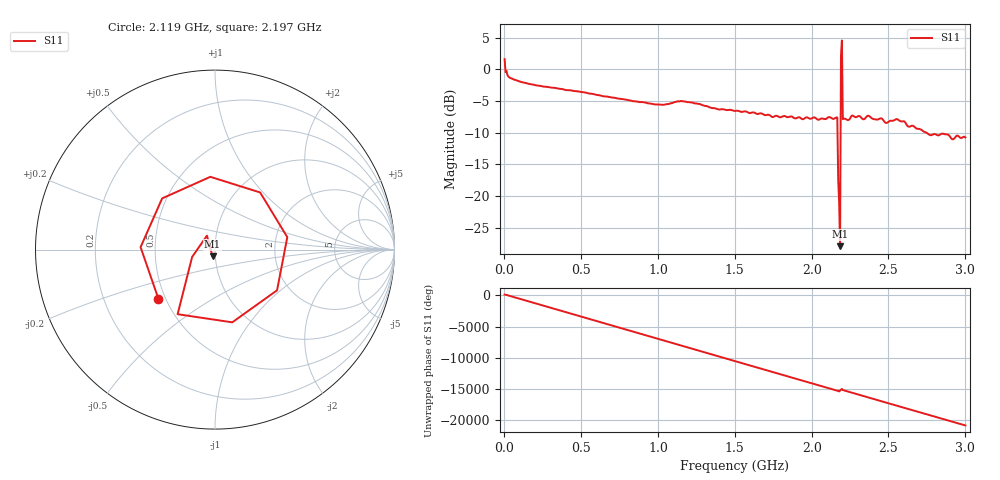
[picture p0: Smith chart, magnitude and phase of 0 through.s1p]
! NanoVNA-App by SYSJOINT et al v1.1.209 (+OD18)
! Date: 2025-09-17 09:44:52
! Start: 1MHz Stop: 3.001GHz Points: 501
! S-Parameter data: F S11
# Hz S RI R 50
!  Frequency  S11_Real  S11_Imag
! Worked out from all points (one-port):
!   501 points, 1 MHz to 3.001 GHz, reference 50 ohm
!   lowest |S11| = -27.9 dB at 2.185 GHz (marker M1), VSWR 1.08, Z = 48.5 - j3.68 ohm
!   |S11| at or under -10 dB: 2.168 GHz to 2.189 GHz (20.13 MHz wide, 0.924 % of centre); 2.746 GHz to end of sweep
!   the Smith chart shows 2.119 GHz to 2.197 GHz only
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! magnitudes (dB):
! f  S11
! 1 MHz  1.6
! 19 MHz  -0.9
! 49 MHz  -1.5
! 379 MHz  -3.1
! 751 MHz  -4.7
! 991 MHz  -5.6
! 1.129 GHz  -5.0
! 1.501 GHz  -6.6
! 1.879 GHz  -7.6
! 2.155 GHz  -7.7
! 2.161 GHz  -7.6
! 2.167 GHz  -7.6
! 2.173 GHz  -17.5
! 2.185 GHz  -27.9
! 2.191 GHz  2.2
! 2.197 GHz  4.5
! 2.203 GHz  -7.9
! 2.215 GHz  -7.8
! 2.251 GHz  -7.7
! 2.341 GHz  -7.9
! 2.371 GHz  -7.4
! 2.485 GHz  -8.5
! 2.557 GHz  -7.9
! 2.629 GHz  -9.0
! 2.773 GHz  -10.4
! 2.875 GHz  -10.3
! 2.917 GHz  -11.1
! 3.001 GHz  -10.8
